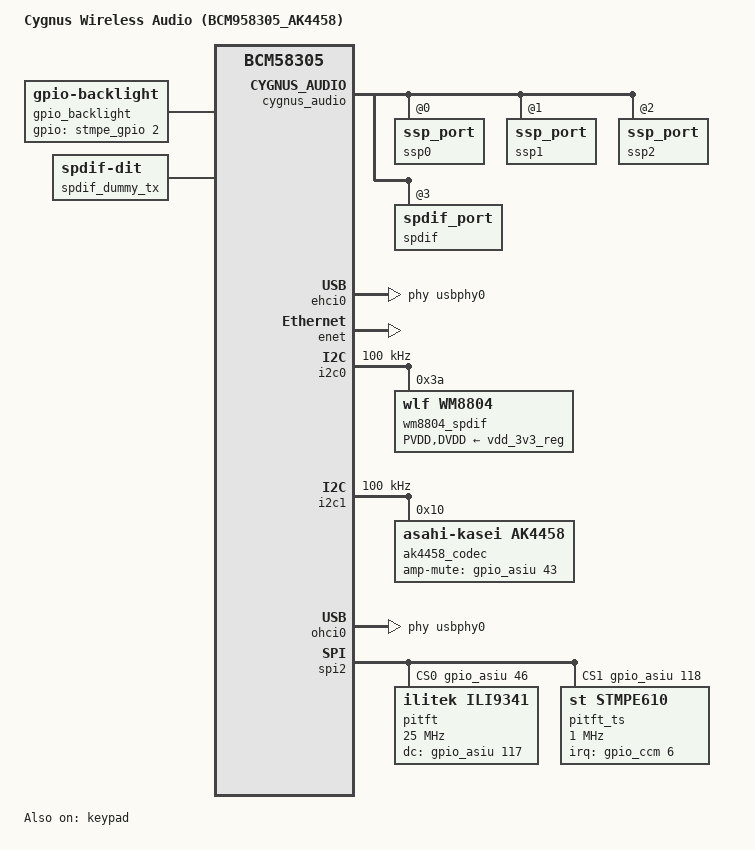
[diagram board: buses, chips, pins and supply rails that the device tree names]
/*
 *  BSD LICENSE
 *
 *  Copyright(c) 2017 Broadcom.  All rights reserved.
 *
 *  Redistribution and use in source and binary forms, with or without
 *  modification, are permitted provided that the following conditions
 *  are met:
 *
 *    * Redistributions of source code must retain the above copyright
 *      notice, this list of conditions and the following disclaimer.
 *    * Redistributions in binary form must reproduce the above copyright
 *      notice, this list of conditions and the following disclaimer in
 *      the documentation and/or other materials provided with the
 *      distribution.
 *    * Neither the name of Broadcom Corporation nor the names of its
 *      contributors may be used to endorse or promote products derived
 *      from this software without specific prior written permission.
 *
 *  THIS SOFTWARE IS PROVIDED BY THE COPYRIGHT HOLDERS AND CONTRIBUTORS
 *  "AS IS" AND ANY EXPRESS OR IMPLIED WARRANTIES, INCLUDING, BUT NOT
 *  LIMITED TO, THE IMPLIED WARRANTIES OF MERCHANTABILITY AND FITNESS FOR
 *  A PARTICULAR PURPOSE ARE DISCLAIMED. IN NO EVENT SHALL THE COPYRIGHT
 *  OWNER OR CONTRIBUTORS BE LIABLE FOR ANY DIRECT, INDIRECT, INCIDENTAL,
 *  SPECIAL, EXEMPLARY, OR CONSEQUENTIAL DAMAGES (INCLUDING, BUT NOT
 *  LIMITED TO, PROCUREMENT OF SUBSTITUTE GOODS OR SERVICES; LOSS OF USE,
 *  DATA, OR PROFITS; OR BUSINESS INTERRUPTION) HOWEVER CAUSED AND ON ANY
 *  THEORY OF LIABILITY, WHETHER IN CONTRACT, STRICT LIABILITY, OR TORT
 *  (INCLUDING NEGLIGENCE OR OTHERWISE) ARISING IN ANY WAY OUT OF THE USE
 * OF THIS SOFTWARE, EVEN IF ADVISED OF THE POSSIBILITY OF SUCH DAMAGE.
 */

/dts-v1/;

#include "bcm958305_audio_sa.dtsi"

/ {
	model = "Cygnus Wireless Audio (BCM958305_AK4458)";
	compatible = "brcm,bcm58305", "brcm,cygnus";

	gpio_backlight: backlight {
		compatible = "gpio-backlight";
		gpios = <&stmpe_gpio 2 0>;
		default-on;
	};

	sound {
		compatible = "brcm,bcm958305-ak4458-machine";
		status = "okay";

		link0 {
			format = "dsp_a";
			bitclock-master = <&dailink0_master>;
			frame-master = <&dailink0_master>;

			dailink0_master: cpu {
				sound-dai = <&cygnus_audio 1>;
			};

			codec {
				sound-dai = <&ak4458_codec>;
			};
		};

		link1 {
			format = "i2s";
			bitclock-master = <&dailink1_master>;
			frame-master = <&dailink1_master>;

			dailink1_master: cpu {
				sound-dai = <&cygnus_audio 3>;
			};

			codec {
				sound-dai = <&spdif_dummy_tx>;
			};
		};

		link2 {
			format = "i2s";
			bitclock-master = <&dailink2_master>;
			frame-master = <&dailink2_master>;

			cpu {
				sound-dai = <&cygnus_audio 0>;
			};

			dailink2_master: codec {
				sound-dai = <&wm8804_spdif>;
			};
		};
	};

	/* dummy codec to model spdif tx */
	spdif_dummy_tx: spdif_tx {
		#sound-dai-cells = <0>;
		status = "okay";
		compatible = "linux,spdif-dit";
	};
};

&cygnus_audio {
	#sound-dai-cells = <1>;

	ssp0: ssp_port@0 {
		status = "okay";
	};

	ssp1: ssp_port@1 {
		status = "okay";
	};

	ssp2: ssp_port@2 {
		status = "okay";
	};

	spdif: spdif_port@3 {
		status = "okay";
	};
};

&dte {
	brcm,dte-interval-ns = <10000000>;
};

&ehci0 {
	phys = <&usbphy0 0 &usbphy2 2>;
	phy-names = "usbp0", "usbp2";
	status = "okay";
};

&enet {
	status = "okay";
};

&i2c0 {
	clock-frequency = <100000>;
	status = "okay";

	wm8804_spdif: wm8804@3a {
		#sound-dai-cells = <0>;
		compatible = "wlf,wm8804";
		reg = <0x3a>;
		PVDD-supply = <&vdd_3v3_reg>;
		DVDD-supply = <&vdd_3v3_reg>;
	};
};

&i2c1 {
	clock-frequency = <100000>;
	status = "okay";

	ak4458_codec: ak4458@10 {
		#sound-dai-cells = <0>;
		compatible = "asahi-kasei,ak4458";
		reg = <0x10>;
		amp-mute-gpio = <&gpio_asiu 43 0>;
	};
};

&keypad {
	keypad,num-rows = <3>;
	keypad,num-columns = <1>;
	status = "okay";

	linux,keymap = <MATRIX_KEY(0x00, 0x00, KEY_1) /* key_1 */
	MATRIX_KEY(0x01, 0x00, KEY_2) /* key_2 */
	MATRIX_KEY(0x02, 0x00, KEY_3) /* key_3 */
	>;
};

&ohci0 {
	phys = <&usbphy0 0 &usbphy2 2>;
	phy-names = "usbp0", "usbp2";
	status = "okay";
};

&pinctrl {
	pinctrl-names = "default";
	pinctrl-0 = <&keypad_on &i2s0_default_mux
		&i2s1_default_mux &i2s2_default_mux &dte_lts_0>;
	keypad_on: keypad_on {
		function = "key";
		groups = "key0_grp", "key8_grp",
			 "key9_grp", "key10_grp";
	};
};

&spi2 {
	status = "okay";
	num-cs = <2>;
	cs-gpios = <&gpio_asiu 46 0>, <&gpio_asiu 118 0>;

	pitft: pitft@0{
		compatible = "ilitek,ili9341";
		reg = <0x0>;
		spi-max-frequency = <25000000>;
		rotate = <270>;
		fps = <10>;
		bgr;
		buswidth = <8>;
		dc-gpios = <&gpio_asiu 117 0>;
		debug = <0>;
	};

	pitft_ts@1 {
		compatible = "st,stmpe610";
		reg = <0x1>;
		spi-max-frequency = <1000000>;
		irq-gpio = <&gpio_ccm 6 0>;
		interrupt-parent = <&gpio_ccm>;
		interrupt-controller;

		stmpe_touchscreen {
			compatible = "st,stmpe-ts";
			st,sample-time = <4>;
			st,mod-12b = <1>;
			st,ref-sel = <0>;
			st,adc-freq = <2>;
			st,ave-ctrl = <3>;
			st,touch-det-delay = <4>;
			st,settling = <2>;
			st,fraction-z = <7>;
			st,i-drive = <0>;
		};

		stmpe_gpio: stmpe_gpio {
			#gpio-cells = <2>;
			compatible = "st,stmpe-gpio";
			gpio-controller;
			/*
			 * only GPIO2 is wired/available
			 * and it is wired to the backlight
			 */
			st,norequest-mask = <0x7b>;
		};
	};
};
